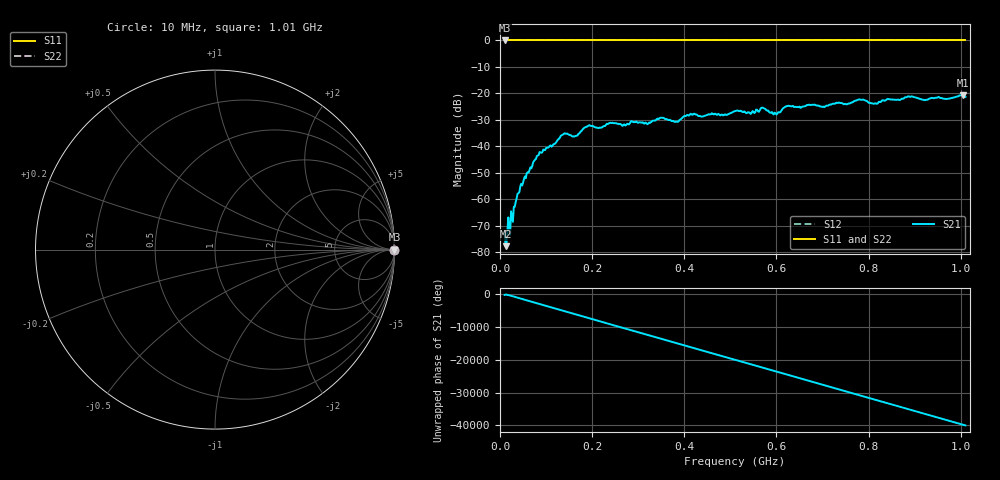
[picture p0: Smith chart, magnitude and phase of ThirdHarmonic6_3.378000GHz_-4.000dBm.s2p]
! 8/17/2025 10:43:50 AM
! C:\ANRITSUVNA\TEMP\TEMP.S2P
! CHANNEL.1
! TR.MEASUREMENT
! RAW.DATA
! RF.CORRECTION.OFF
! AVERAGING.OFF
! IF.BANDWIDTH: 5KHZ
! SWEEPTYPE:  FREQ.SWEEP(Linear)
! Reference Plane Port Info
! PORT:  PORT1  PORT2
! DISTANCE:  0  m  0  m
! TIME:  0  s  0  s
! PHASE.OFFSET:  0  deg.  0  deg.
! LOSS:  0  dB  0  dB
! REF.LOSS:  0  dB  0  dB
! REF.FREQ:  0  Hz  0  Hz
! Power Info
! POWER:  -20  dBm  -20  dBm
! EFF.POWER:  -20  dBm  -20  dBm
! SOURCE.ATTEN:  0  dB  0  dB
! TEST.ATTEN:  0  dB  0  dB
# GHZ S RI R 50.0
! FREQ.GHZ  S11RE  S11IM  S21RE  S21IM  S12RE  S12IM  S22RE  S22IM
!; PortSelection: Port_12
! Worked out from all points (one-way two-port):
!   501 points, 10 MHz to 1.01 GHz, reference 50 ohm
!   highest |S21| = -20.65 dB at 1.004 GHz (marker M1); lowest = -77.7 dB at 12 MHz (marker M2)
!   lowest |S11| = 0.0 dB at 10 MHz (marker M3)
!   |S11| at or under -10 dB: nowhere
!   |S22| runs from 0.0 to 0.0 dB; largest |S21 - S12| = 1.1
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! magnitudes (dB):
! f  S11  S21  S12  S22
! 10 MHz  0.0  -72.0  0.0  0.0
! 12 MHz  0.0  -77.7  0.0  0.0
! 24 MHz  0.0  -64.5  0.0  0.0
! 42 MHz  0.0  -57.3  0.0  0.0
! 84 MHz  0.0  -43.2  0.0  0.0
! 136 MHz  0.0  -35.6  0.0  0.0
! 162 MHz  0.0  -36.2  0.0  0.0
! 178 MHz  0.0  -33.9  0.0  0.0
! 194 MHz  0.0  -32.0  0.0  0.0
! 322 MHz  0.0  -31.3  0.0  0.0
! 344 MHz  0.0  -29.7  0.0  0.0
! 384 MHz  0.0  -30.5  0.0  0.0
! 416 MHz  0.0  -27.9  0.0  0.0
! 510 MHz  0.0  -26.7  0.0  0.0
! 570 MHz  0.0  -25.4  0.0  0.0
! 598 MHz  0.0  -27.5  0.0  0.0
! 624 MHz  0.0  -24.8  0.0  0.0
! 678 MHz  0.0  -24.3  0.0  0.0
! 816 MHz  0.0  -23.8  0.0  0.0
! 844 MHz  0.0  -22.2  0.0  0.0
! 1.004 GHz  0.0  -20.6  0.0  0.0
! 1.01 GHz  0.0  -21.3  0.0  0.0
